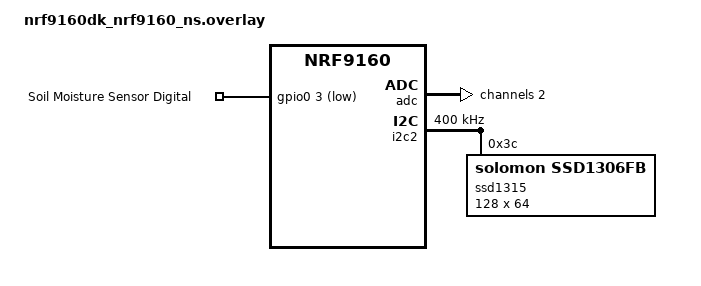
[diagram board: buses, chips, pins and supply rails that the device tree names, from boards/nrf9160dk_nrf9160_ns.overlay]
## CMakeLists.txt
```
cmake_minimum_required(VERSION 3.20.0)
set(SHIELD ssd1306_128x64)
find_package(Zephyr REQUIRED HINTS $ENV{ZEPHYR_BASE})
project(sensortest)

target_sources(app PRIVATE src/main.c src/i2c_scanner.c)

target_include_directories(app PRIVATE
    ${CMAKE_CURRENT_SOURCE_DIR}/include
	)
```

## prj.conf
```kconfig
#CONFIG_LV_Z_MEM_POOL_NUMBER_BLOCKS=8
CONFIG_MAIN_STACK_SIZE=2048
CONFIG_GPIO=y
CONFIG_ADC=y
CONFIG_ADC_NRFX_SAADC=y
CONFIG_LOG=y

CONFIG_SENSOR=y
CONFIG_ADC_NRFX_SAADC=y
CONFIG_NEWLIB_LIBC=y
CONFIG_NEWLIB_LIBC_FLOAT_PRINTF=y

CONFIG_LVGL=y
CONFIG_LV_MEM_CUSTOM=y
CONFIG_LV_USE_LOG=y
CONFIG_LV_LOG_LEVEL_INFO=y
CONFIG_LV_USE_LABEL=y
CONFIG_LV_USE_BTN=y
CONFIG_LV_USE_IMG=y
CONFIG_LV_FONT_MONTSERRAT_14=y

CONFIG_DISPLAY=y
CONFIG_I2C=y
CONFIG_I2C_NRFX=y
CONFIG_DISPLAY_LOG_LEVEL_ERR=y
CONFIG_SSD1306=y
```

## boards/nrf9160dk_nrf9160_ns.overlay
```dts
&adc {
    #address-cells = <1>;
    #size-cells = <0>;
    status = "okay";
    channel@2 {
        reg = <2>;
        zephyr,gain = "ADC_GAIN_1_2";
        zephyr,reference = "ADC_REF_INTERNAL";
        zephyr,acquisition-time = <ADC_ACQ_TIME_DEFAULT>;
        zephyr,input-positive = <NRF_SAADC_AIN2>;
        zephyr,resolution = <12>;
    };
};

&i2c2 {
	compatible = "nordic,nrf-twim";
	status = "okay";
	clock-frequency = <I2C_BITRATE_FAST>;
	zephyr,concat-buf-size = <1024>;  // Puffergröße auf 640 Bytes setzen
    zephyr,flash-buf-max-size = <1024>; // Maximalgröße für Flash-Schreibvorgänge
    
  
	ssd1315: ssd1315@3c {
		compatible = "solomon,ssd1306fb";
		reg = <0x3c>;
		width = <128>;
		height = <64>;
		segment-offset = <0>;
		page-offset = <0>;
		display-offset = <0>;
		multiplex-ratio = <63>;
		segment-remap;
		com-invdir;
		prechargep = <0x22>;
	};
};

/ {
	chosen {
		zephyr,display = &ssd1315;
	};

    soil_moisture_sensor {
        compatible = "gpio-keys";
        soil_moisture_gpio: soil_moisture_gpio {
            gpios = <&gpio0 3 GPIO_ACTIVE_LOW>;
            label = "Soil Moisture Sensor Digital";
        };
    };
    
    soil_moisture_adc: soil_moisture_adc {
        compatible = "adc-keys";
        io-channels = <&adc 2>;
        label = "Soil Moisture Sensor Analog";
		keyup-threshold-mv = <600>;  
    };
};
```

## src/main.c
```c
#include <zephyr/kernel.h>
#include <zephyr/device.h>
#include <zephyr/drivers/display.h>
#include <zephyr/drivers/gpio.h>
#include <zephyr/drivers/adc.h>
#include <zephyr/logging/log.h>
#include <lvgl.h>
#include <stdio.h>

LOG_MODULE_REGISTER(sensortest, LOG_LEVEL_INF);

#define SOIL_MOISTURE_GPIO_NODE DT_NODELABEL(soil_moisture_gpio)
#define SOIL_MOISTURE_ADC_NODE DT_NODELABEL(soil_moisture_adc)
#define ADC_RESOLUTION 12
#define ADC_CHANNEL DT_IO_CHANNELS_INPUT(SOIL_MOISTURE_ADC_NODE)

static const struct gpio_dt_spec soil_moisture_gpio = GPIO_DT_SPEC_GET(SOIL_MOISTURE_GPIO_NODE, gpios);
static const struct adc_dt_spec soil_moisture_adc = ADC_DT_SPEC_GET(SOIL_MOISTURE_ADC_NODE);
static const struct device *display_dev;

static int16_t sample_buffer[1];

struct adc_sequence sequence = {
    .buffer = sample_buffer,
    .buffer_size = sizeof(sample_buffer),
};

static int init_display(void) {
    display_dev = DEVICE_DT_GET(DT_CHOSEN(zephyr_display));
    if (!device_is_ready(display_dev)) {
        LOG_ERR("Display not ready");
        return -1;
    }
    display_blanking_off(display_dev);
    return 0;
}

static void init_lvgl(void) {
    lv_init();
    lv_task_handler();
}

int main(void)
{
    int ret;
    int32_t adc_value;
    char display_text[64];

    if (init_display() < 0) {
        return -1;
    }

    init_lvgl();

    // Hier Widgets erstellen und Logik implementieren
    lv_obj_clean(lv_scr_act());
    lv_obj_t *label = lv_label_create(lv_scr_act());
    lv_obj_align(label, LV_ALIGN_CENTER, 0, 0);

    // GPIO Konfiguration
    if (!device_is_ready(soil_moisture_gpio.port)) {
        LOG_ERR("Error: Soil moisture GPIO device is not ready");
        return -1;
    }

    ret = gpio_pin_configure_dt(&soil_moisture_gpio, GPIO_INPUT);
    if (ret != 0) {
        LOG_ERR("Error: failed to configure GPIO");
        return -1;
    }

    // ADC Konfiguration
    if (!device_is_ready(soil_moisture_adc.dev)) {
        LOG_ERR("Error: ADC device is not ready");
        return -1;
    }

    ret = adc_channel_setup_dt(&soil_moisture_adc);
    if (ret != 0) {
        LOG_ERR("Error: failed to setup ADC channel, error code: %d", ret);
        return ret;
    }

    while (1) {
        lv_task_handler();
        // Digitalen Wert lesen
        int digital_val = gpio_pin_get_dt(&soil_moisture_gpio);
        
        // Analogen Wert lesen
        ret = adc_sequence_init_dt(&soil_moisture_adc, &sequence);
        if (ret != 0) {
            LOG_ERR("Error: failed to initialize ADC sequence");
            continue;
        }

        ret = adc_read(soil_moisture_adc.dev, &sequence);
        if (ret == 0) {
            int32_t adc_value = sample_buffer[0];
            int32_t millivolts = 0;
            ret = adc_raw_to_millivolts_dt(&soil_moisture_adc, &millivolts);
            if (ret != 0) {
                LOG_ERR("Error: failed to convert ADC raw value to millivolts");
            } else {
                LOG_INF("Digital: %s, Analog raw: %d, Analog: %d mV", 
                    digital_val == 0 ? "Moist" : "Dry", 
                    adc_value,
                    millivolts);
                int32_t reference_mv = adc_ref_internal(soil_moisture_adc.dev);
                int32_t millivolts = (adc_value * reference_mv) / (1 << soil_moisture_adc.resolution);
                LOG_INF("Manual conversion: %d mV", millivolts);
                snprintf(display_text, sizeof(display_text), 
                    "Digital: %s\nAnalog: %d mV", 
                    digital_val == 0 ? "Moist" : "Dry", 
                    millivolts);
                lv_label_set_text(label, display_text);
            }
        } else {
            LOG_ERR("Error reading ADC");
        }

        k_sleep(K_SECONDS(5));
    }

    return 0;
}
```

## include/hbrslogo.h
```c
#define HBRSLOGO_BW_HEIGHT 64
#define HBRSLOGO_BW_WIDTH 128

// array size is 8192
const unsigned char hbrslogo_bw[]  = {
  0xff, 0xff, 0xff, 0xff, 0xff, 0xff, 0xff, 0xff, 0xff, 0xff, 0xff, 0xff, 0xff, 0xff, 0xff, 0xff, 
  0xff, 0xff, 0xff, 0xff, 0xff, 0xff, 0xff, 0xff, 0xff, 0xff, 0xff, 0xff, 0xff, 0xff, 0xff, 0xff, 
  0xff, 0xff, 0xff, 0xff, 0xff, 0xff, 0xff, 0xff, 0xff, 0xff, 0xff, 0xff, 0xff, 0xff, 0xff, 0xff, 
  0xff, 0xff, 0xff, 0xff, 0xff, 0xff, 0xff, 0xff, 0xff, 0xff, 0xff, 0xff, 0xff, 0xff, 0xff, 0xff, 
  0xff, 0xff, 0xff, 0xff, 0xff, 0xff, 0xff, 0xff, 0xff, 0xff, 0xff, 0xff, 0xff, 0xff, 0xff, 0xff, 
  0xff, 0xff, 0xff, 0xff, 0xff, 0xff, 0xff, 0xff, 0xff, 0xff, 0xff, 0xff, 0xff, 0xff, 0xff, 0xff, 
  0xff, 0xff, 0xff, 0xff, 0xff, 0xff, 0xff, 0xff, 0xff, 0xff, 0xff, 0xff, 0xff, 0xff, 0xff, 0xff, 
  0xff, 0xff, 0xff, 0xff, 0xff, 0xff, 0xff, 0xff, 0xff, 0xff, 0xff, 0xff, 0xff, 0xff, 0xff, 0xff, 
  0xff, 0xff, 0xff, 0xff, 0xff, 0xff, 0xff, 0xff, 0xff, 0xff, 0xff, 0xff, 0xff, 0xff, 0xff, 0xff, 
  0xff, 0xff, 0xff, 0xff, 0x80, 0xff, 0xff, 0xff, 0xff, 0xff, 0xff, 0x80, 0xff, 0xff, 0xff, 0xff, 
  0xff, 0xff, 0xff, 0xfc, 0x00, 0x3f, 0xff, 0xff, 0xff, 0xff, 0xfe, 0x00, 0x1f, 0xff, 0xff, 0xff, 
  0xff, 0xff, 0xff, 0xf0, 0x00, 0x07, 0xff, 0xff, 0xff, 0xff, 0xf0, 0x00, 0x07, 0xff, 0xff, 0xff, 
  0xff, 0xff, 0xff, 0xc0, 0x00, 0x03, 0xff, 0xff, 0xff, 0xff, 0xe0, 0x00, 0x03, 0xff, 0xff, 0xff, 
  0xff, 0xff, 0xff, 0x80, 0x00, 0x00, 0xff, 0xff, 0xff, 0xff, 0x80, 0x00, 0x00, 0xff, 0xff, 0xff, 
  0xff, 0xff, 0xfe, 0x00, 0x00, 0x00, 0xff, 0xff, 0xff, 0xff, 0x00, 0x00, 0x00, 0x7f, 0xff, 0xff, 
  0xff, 0xff, 0xfc, 0x00, 0x00, 0x00, 0x3f, 0xff, 0xff, 0xfe, 0x00, 0x00, 0x00, 0x3f, 0xff, 0xff, 
  0xff, 0xff, 0xfc, 0x00, 0x00, 0x00, 0x1f, 0xff, 0xff, 0xfc, 0x00, 0x00, 0x00, 0x1f, 0xff, 0xff, 
  0xff, 0xff, 0xf8, 0x00, 0x00, 0x00, 0x0f, 0xff, 0xff, 0xfc, 0x00, 0x00, 0x00, 0x0f, 0xff, 0xff, 
  0xff, 0xff, 0xf0, 0x00, 0xff, 0x00, 0x0f, 0xff, 0xff, 0xf8, 0x00, 0x00, 0x00, 0x0f, 0xff, 0xff, 
  0xff, 0xff, 0xf0, 0x01, 0xff, 0xc0, 0x07, 0xff, 0xff, 0xf0, 0x00, 0x00, 0x00, 0x07, 0xff, 0xff, 
  0xff, 0xff, 0xe0, 0x07, 0xff, 0xe0, 0x07, 0xff, 0xff, 0xf0, 0x00, 0x00, 0x00, 0x03, 0xff, 0xff, 
  0xff, 0xff, 0xc0, 0x0f, 0xff, 0xf0, 0x03, 0xff, 0xff, 0xe0, 0x00, 0x00, 0x00, 0x03, 0xff, 0xff, 
  0xff, 0xff, 0xc0, 0x1f, 0xff, 0xf8, 0x03, 0xff, 0xff, 0xe0, 0x00, 0x00, 0x00, 0x03, 0xff, 0xff, 
  0xff, 0xff, 0xc0, 0x3f, 0xff, 0xfc, 0x03, 0xff, 0xff, 0xc0, 0x00, 0x00, 0x00, 0x01, 0xff, 0xff, 
  0xff, 0xff, 0xc0, 0x3f, 0xff, 0xfe, 0x01, 0xff, 0xff, 0xc0, 0x00, 0x00, 0x00, 0x01, 0xff, 0xff, 
  0xff, 0xff, 0x80, 0x7f, 0xff, 0xfe, 0x01, 0xff, 0xff, 0xc0, 0x00, 0x00, 0x00, 0x01, 0xff, 0xff, 
  0xff, 0xff, 0x80, 0x7f, 0xff, 0xfe, 0x01, 0xff, 0xff, 0xc0, 0x00, 0x00, 0x00, 0x00, 0xff, 0xff, 
  0xff, 0xff, 0x80, 0xff, 0xff, 0xff, 0x00, 0xff, 0xff, 0x80, 0x00, 0x00, 0x00, 0x00, 0xff, 0xff, 
  0xff, 0xff, 0x80, 0xff, 0xff, 0xff, 0x00, 0xff, 0xff, 0x80, 0x00, 0x00, 0x00, 0x00, 0xff, 0xff, 
  0xff, 0xff, 0x80, 0xff, 0xff, 0xff, 0x80, 0xff, 0xff, 0x80, 0x00, 0x00, 0x00, 0x00, 0xff, 0xff, 
  0xff, 0xff, 0x00, 0xff, 0xff, 0xff, 0x80, 0xff, 0xff, 0x80, 0x00, 0x00, 0x00, 0x00, 0xff, 0xff, 
  0xff, 0xff, 0x00, 0xff, 0xff, 0xff, 0x80, 0xff, 0xff, 0x80, 0x00, 0x00, 0x00, 0x00, 0xff, 0xff, 
  0xff, 0xff, 0x00, 0xff, 0xff, 0xff, 0x80, 0xff, 0xff, 0x80, 0x00, 0x00, 0x00, 0x00, 0xff, 0xff, 
  0xff, 0xff, 0x00, 0xff, 0xff, 0xff, 0x80, 0xff, 0xff, 0x80, 0x00, 0x00, 0x00, 0x00, 0xff, 0xff, 
  0xff, 0xff, 0x80, 0xff, 0xff, 0xff, 0x80, 0xff, 0xff, 0x80, 0x00, 0x00, 0x00, 0x00, 0xff, 0xff, 
  0xff, 0xff, 0x80, 0xff, 0xff, 0xff, 0x00, 0xff, 0xff, 0x80, 0x00, 0x00, 0x00, 0x00, 0xff, 0xff, 
  0xff, 0xff, 0x80, 0xff, 0xff, 0xff, 0x00, 0xff, 0xff, 0x80, 0x00, 0x00, 0x00, 0x00, 0xff, 0xff, 
  0xff, 0xff, 0x80, 0xff, 0xff, 0xff, 0x00, 0xff, 0xff, 0x80, 0x00, 0x00, 0x00, 0x00, 0xff, 0xff, 
  0xff, 0xff, 0x80, 0x7f, 0xff, 0xfe, 0x01, 0xff, 0xff, 0xc0, 0x00, 0x00, 0x00, 0x01, 0xff, 0xff, 
  0xff, 0xff, 0x80, 0x7f, 0xff, 0xfe, 0x01, 0xff, 0xff, 0xc0, 0x00, 0x00, 0x00, 0x01, 0xff, 0xff, 
  0xff, 0xff, 0xc0, 0x3f, 0xff, 0xfc, 0x03, 0xff, 0xff, 0xc0, 0x00, 0x00, 0x00, 0x01, 0xff, 0xff, 
  0xff, 0xff, 0xc0, 0x1f, 0xff, 0xfc, 0x03, 0xff, 0xff, 0xc0, 0x00, 0x00, 0x00, 0x01, 0xff, 0xff, 
  0xff, 0xff, 0xc0, 0x0f, 0xff, 0xf8, 0x03, 0xff, 0xff, 0xe0, 0x00, 0x00, 0x00, 0x03, 0xff, 0xff, 
  0xff, 0xff, 0xe0, 0x0f, 0xff, 0xf0, 0x03, 0xff, 0xff, 0xe0, 0x00, 0x00, 0x00, 0x03, 0xff, 0xff, 
  0xff, 0xff, 0xe0, 0x03, 0xff, 0xc0, 0x07, 0xff, 0xff, 0xf0, 0x00, 0x00, 0x00, 0x03, 0xff, 0xff, 
  0xff, 0xff, 0xf0, 0x01, 0xff, 0x80, 0x0f, 0xff, 0xff, 0xf0, 0x00, 0x00, 0x00, 0x07, 0xff, 0xff, 
  0xff, 0xff, 0xf8, 0x00, 0x00, 0x00, 0x0f, 0xff, 0xff, 0xf8, 0x00, 0x00, 0x00, 0x0f, 0xff, 0xff, 
  0xff, 0xff, 0xf8, 0x00, 0x00, 0x00, 0x1f, 0xff, 0xff, 0xfc, 0x00, 0x00, 0x00, 0x0f, 0xff, 0xff, 
  0xff, 0xff, 0xfc, 0x00, 0x00, 0x00, 0x3f, 0xff, 0xff, 0xfc, 0x00, 0x00, 0x00, 0x1f, 0xff, 0xff, 
  0xff, 0xff, 0xfe, 0x00, 0x00, 0x00, 0x7f, 0xff, 0xff, 0xff, 0x00, 0x00, 0x00, 0x3f, 0xff, 0xff, 
  0xff, 0xff, 0xff, 0x00, 0x00, 0x00, 0xff, 0xff, 0xff, 0xff, 0x00, 0x00, 0x00, 0x7f, 0xff, 0xff, 
  0xff, 0xff, 0xff, 0x80, 0x00, 0x01, 0xff, 0xff, 0xff, 0xff, 0xc0, 0x00, 0x01, 0xff, 0xff, 0xff, 
  0xff, 0xff, 0xff, 0xc0, 0x00, 0x03, 0xff, 0xff, 0xff, 0xff, 0xe0, 0x00, 0x03, 0xff, 0xff, 0xff, 
  0xff, 0xff, 0xff, 0xf8, 0x00, 0x0f, 0xff, 0xff, 0xff, 0xff, 0xf8, 0x00, 0x0f, 0xff, 0xff, 0xff, 
  0xff, 0xff, 0xff, 0xfc, 0x00, 0x3f, 0xff, 0xff, 0xff, 0xff, 0xfe, 0x00, 0x3f, 0xff, 0xff, 0xff, 
  0xff, 0xff, 0xff, 0xff, 0xff, 0xff, 0xff, 0xff, 0xff, 0xff, 0xff, 0xff, 0xff, 0xff, 0xff, 0xff, 
  0xff, 0xff, 0xff, 0xff, 0xff, 0xff, 0xff, 0xff, 0xff, 0xff, 0xff, 0xff, 0xff, 0xff, 0xff, 0xff, 
  0xff, 0xff, 0xff, 0xff, 0xff, 0xff, 0xff, 0xff, 0xff, 0xff, 0xff, 0xff, 0xff, 0xff, 0xff, 0xff, 
  0xff, 0xff, 0xff, 0xff, 0xff, 0xff, 0xff, 0xff, 0xff, 0xff, 0xff, 0xff, 0xff, 0xff, 0xff, 0xff, 
  0xff, 0xff, 0xff, 0xff, 0xff, 0xff, 0xff, 0xff, 0xff, 0xff, 0xff, 0xff, 0xff, 0xff, 0xff, 0xff, 
  0xff, 0xff, 0xff, 0xff, 0xff, 0xff, 0xff, 0xff, 0xff, 0xff, 0xff, 0xff, 0xff, 0xff, 0xff, 0xff, 
  0xff, 0xff, 0xff, 0xff, 0xff, 0xff, 0xff, 0xff, 0xff, 0xff, 0xff, 0xff, 0xff, 0xff, 0xff, 0xff, 
  0xff, 0xff, 0xff, 0xff, 0xff, 0xff, 0xff, 0xff, 0xff, 0xff, 0xff, 0xff, 0xff, 0xff, 0xff, 0xff, 
  0xff, 0xff, 0xff, 0xff, 0xff, 0xff, 0xff, 0xff, 0xff, 0xff, 0xff, 0xff, 0xff, 0xff, 0xff, 0xff
};
```

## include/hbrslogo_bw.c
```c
/* E:\Uni\WS2425\IoT_Security\NRF\Projekt\SSD1306\include\hbrslogo_bw.bmp (01.12.2024 12:17:59)
   StartOffset(h): 00000000, EndeOffset(h): 00000491, Länge(h): 00000492 */

const unsigned char hbrslogo_bits[] = {
	0x42, 0x4D, 0x92, 0x04, 0x00, 0x00, 0x00, 0x00, 0x00, 0x00, 0x92, 0x00,
	0x00, 0x00, 0x7C, 0x00, 0x00, 0x00, 0x80, 0x00, 0x00, 0x00, 0x40, 0x00,
	0x00, 0x00, 0x01, 0x00, 0x01, 0x00, 0x00, 0x00, 0x00, 0x00, 0x00, 0x04,
	0x00, 0x00, 0xC2, 0x0E, 0x00, 0x00, 0xC2, 0x0E, 0x00, 0x00, 0x02, 0x00,
	0x00, 0x00, 0x02, 0x00, 0x00, 0x00, 0x00, 0x00, 0xFF, 0x00, 0x00, 0xFF,
	0x00, 0x00, 0xFF, 0x00, 0x00, 0x00, 0x00, 0x00, 0x00, 0x00, 0x42, 0x47,
	0x52, 0x73, 0x00, 0x00, 0x00, 0x00, 0x00, 0x00, 0x00, 0x00, 0x00, 0x00,
	0x00, 0x00, 0x00, 0x00, 0x00, 0x00, 0x00, 0x00, 0x00, 0x00, 0x00, 0x00,
	0x00, 0x00, 0x00, 0x00, 0x00, 0x00, 0x00, 0x00, 0x00, 0x00, 0x00, 0x00,
	0x00, 0x00, 0x00, 0x00, 0x00, 0x00, 0x00, 0x00, 0x00, 0x00, 0x00, 0x00,
	0x00, 0x00, 0x02, 0x00, 0x00, 0x00, 0x00, 0x00, 0x00, 0x00, 0x00, 0x00,
	0x00, 0x00, 0x00, 0x00, 0x00, 0x00, 0x00, 0x00, 0x00, 0x00, 0xFF, 0xFF,
	0xFF, 0x00, 0xFF, 0xFF, 0xFF, 0xFF, 0xFF, 0xFF, 0xFF, 0xFF, 0xFF, 0xFF,
	0xFF, 0xFF, 0xFF, 0xFF, 0xFF, 0xFF, 0xFF, 0xFF, 0xFF, 0xFF, 0xFF, 0xFF,
	0xFF, 0xFF, 0xFF, 0xFF, 0xFF, 0xFF, 0xFF, 0xFF, 0xFF, 0xFF, 0xFF, 0xFF,
	0xFF, 0xFF, 0xFF, 0xFF, 0xFF, 0xFF, 0xFF, 0xFF, 0xFF, 0xFF, 0xFF, 0xFF,
	0xFF, 0xFF, 0xFF, 0xFF, 0xFF, 0xFF, 0xFF, 0xFF, 0xFF, 0xFF, 0xFF, 0xFF,
	0xFF, 0xFF, 0xFF, 0xFF, 0xFF, 0xFF, 0xFF, 0xFF, 0xFF, 0xFF, 0xFF, 0xFF,
	0xFF, 0xFF, 0xFF, 0xFF, 0xFF, 0xFF, 0xFF, 0xFF, 0xFF, 0xFF, 0xFF, 0xFF,
	0xFF, 0xFF, 0xFF, 0xFF, 0xFF, 0xFF, 0xFF, 0xFF, 0xFF, 0xFF, 0xFF, 0xFF,
	0xFF, 0xFF, 0xFF, 0xFF, 0xFF, 0xFF, 0xFF, 0xFF, 0xFF, 0xFF, 0xFF, 0xFF,
	0xFF, 0xFF, 0xFF, 0xFF, 0xFF, 0xFF, 0xFF, 0xFF, 0xFF, 0xFF, 0xFF, 0xFF,
	0xFF, 0xFF, 0xFF, 0xFF, 0xFF, 0xFF, 0xFF, 0xFF, 0xFF, 0xFF, 0xFF, 0xFF,
	0xFF, 0xFF, 0xFF, 0xFF, 0xFF, 0xFF, 0xFF, 0xFF, 0xFF, 0xFF, 0xFF, 0xFF,
	0xFF, 0xFF, 0xFF, 0xFF, 0xFF, 0xFC, 0x00, 0x3F, 0xFF, 0xFF, 0xFF, 0xFF,
	0xFE, 0x00, 0x3F, 0xFF, 0xFF, 0xFF, 0xFF, 0xFF, 0xFF, 0xF8, 0x00, 0x0F,
	0xFF, 0xFF, 0xFF, 0xFF, 0xF8, 0x00, 0x0F, 0xFF, 0xFF, 0xFF, 0xFF, 0xFF,
	0xFF, 0xC0, 0x00, 0x03, 0xFF, 0xFF, 0xFF, 0xFF, 0xE0, 0x00, 0x03, 0xFF,
	0xFF, 0xFF, 0xFF, 0xFF, 0xFF, 0x80, 0x00, 0x01, 0xFF, 0xFF, 0xFF, 0xFF,
	0xC0, 0x00, 0x01, 0xFF, 0xFF, 0xFF, 0xFF, 0xFF, 0xFF, 0x00, 0x00, 0x00,
	0xFF, 0xFF, 0xFF, 0xFF, 0x00, 0x00, 0x00, 0x7F, 0xFF, 0xFF, 0xFF, 0xFF,
	0xFE, 0x00, 0x00, 0x00, 0x7F, 0xFF, 0xFF, 0xFF, 0x00, 0x00, 0x00, 0x3F,
	0xFF, 0xFF, 0xFF, 0xFF, 0xFC, 0x00, 0x00, 0x00, 0x3F, 0xFF, 0xFF, 0xFC,
	0x00, 0x00, 0x00, 0x1F, 0xFF, 0xFF, 0xFF, 0xFF, 0xF8, 0x00, 0x00, 0x00,
	0x1F, 0xFF, 0xFF, 0xFC, 0x00, 0x00, 0x00, 0x0F, 0xFF, 0xFF, 0xFF, 0xFF,
	0xF8, 0x00, 0x00, 0x00, 0x0F, 0xFF, 0xFF, 0xF8, 0x00, 0x00, 0x00, 0x0F,
	0xFF, 0xFF, 0xFF, 0xFF, 0xF0, 0x01, 0xFF, 0x80, 0x0F, 0xFF, 0xFF, 0xF0,
	0x00, 0x00, 0x00, 0x07, 0xFF, 0xFF, 0xFF, 0xFF, 0xE0, 0x03, 0xFF, 0xC0,
	0x07, 0xFF, 0xFF, 0xF0, 0x00, 0x00, 0x00, 0x03, 0xFF, 0xFF, 0xFF, 0xFF,
	0xE0, 0x0F, 0xFF, 0xF0, 0x03, 0xFF, 0xFF, 0xE0, 0x00, 0x00, 0x00, 0x03,
	0xFF, 0xFF, 0xFF, 0xFF, 0xC0, 0x0F, 0xFF, 0xF8, 0x03, 0xFF, 0xFF, 0xE0,
	0x00, 0x00, 0x00, 0x03, 0xFF, 0xFF, 0xFF, 0xFF, 0xC0, 0x1F, 0xFF, 0xFC,
	0x03, 0xFF, 0xFF, 0xC0, 0x00, 0x00, 0x00, 0x01, 0xFF, 0xFF, 0xFF, 0xFF,
	0xC0, 0x3F, 0xFF, 0xFC, 0x03, 0xFF, 0xFF, 0xC0, 0x00, 0x00, 0x00, 0x01,
	0xFF, 0xFF, 0xFF, 0xFF, 0x80, 0x7F, 0xFF, 0xFE, 0x01, 0xFF, 0xFF, 0xC0,
	0x00, 0x00, 0x00, 0x01, 0xFF, 0xFF, 0xFF, 0xFF, 0x80, 0x7F, 0xFF, 0xFE,
	0x01, 0xFF, 0xFF, 0xC0, 0x00, 0x00, 0x00, 0x01, 0xFF, 0xFF, 0xFF, 0xFF,
	0x80, 0xFF, 0xFF, 0xFF, 0x00, 0xFF, 0xFF, 0x80, 0x00, 0x00, 0x00, 0x00,
	0xFF, 0xFF, 0xFF, 0xFF, 0x80, 0xFF, 0xFF, 0xFF, 0x00, 0xFF, 0xFF, 0x80,
	0x00, 0x00, 0x00, 0x00, 0xFF, 0xFF, 0xFF, 0xFF, 0x80, 0xFF, 0xFF, 0xFF,
	0x00, 0xFF, 0xFF, 0x80, 0x00, 0x00, 0x00, 0x00, 0xFF, 0xFF, 0xFF, 0xFF,
	0x80, 0xFF, 0xFF, 0xFF, 0x80, 0xFF, 0xFF, 0x80, 0x00, 0x00, 0x00, 0x00,
	0xFF, 0xFF, 0xFF, 0xFF, 0x00, 0xFF, 0xFF, 0xFF, 0x80, 0xFF, 0xFF, 0x80,
	0x00, 0x00, 0x00, 0x00, 0xFF, 0xFF, 0xFF, 0xFF, 0x00, 0xFF, 0xFF, 0xFF,
	0x80, 0xFF, 0xFF, 0x80, 0x00, 0x00, 0x00, 0x00, 0xFF, 0xFF, 0xFF, 0xFF,
	0x00, 0xFF, 0xFF, 0xFF, 0x80, 0xFF, 0xFF, 0x80, 0x00, 0x00, 0x00, 0x00,
	0xFF, 0xFF, 0xFF, 0xFF, 0x00, 0xFF, 0xFF, 0xFF, 0x80, 0xFF, 0xFF, 0x80,
	0x00, 0x00, 0x00, 0x00, 0xFF, 0xFF, 0xFF, 0xFF, 0x80, 0xFF, 0xFF, 0xFF,
	0x80, 0xFF, 0xFF, 0x80, 0x00, 0x00, 0x00, 0x00, 0xFF, 0xFF, 0xFF, 0xFF,
	0x80, 0xFF, 0xFF, 0xFF, 0x00, 0xFF, 0xFF, 0x80, 0x00, 0x00, 0x00, 0x00,
	0xFF, 0xFF, 0xFF, 0xFF, 0x80, 0xFF, 0xFF, 0xFF, 0x00, 0xFF, 0xFF, 0x80,
	0x00, 0x00, 0x00, 0x00, 0xFF, 0xFF, 0xFF, 0xFF, 0x80, 0x7F, 0xFF, 0xFE,
	0x01, 0xFF, 0xFF, 0xC0, 0x00, 0x00, 0x00, 0x00, 0xFF, 0xFF, 0xFF, 0xFF,
	0x80, 0x7F, 0xFF, 0xFE, 0x01, 0xFF, 0xFF, 0xC0, 0x00, 0x00, 0x00, 0x01,
	0xFF, 0xFF, 0xFF, 0xFF, 0xC0, 0x3F, 0xFF, 0xFE, 0x01, 0xFF, 0xFF, 0xC0,
	0x00, 0x00, 0x00, 0x01, 0xFF, 0xFF, 0xFF, 0xFF, 0xC0, 0x3F, 0xFF, 0xFC,
	0x03, 0xFF, 0xFF, 0xC0, 0x00, 0x00, 0x00, 0x01, 0xFF, 0xFF, 0xFF, 0xFF,
	0xC0, 0x1F, 0xFF, 0xF8, 0x03, 0xFF, 0xFF, 0xE0, 0x00, 0x00, 0x00, 0x03,
	0xFF, 0xFF, 0xFF, 0xFF, 0xC0, 0x0F, 0xFF, 0xF0, 0x03, 0xFF, 0xFF, 0xE0,
	0x00, 0x00, 0x00, 0x03, 0xFF, 0xFF, 0xFF, 0xFF, 0xE0, 0x07, 0xFF, 0xE0,
	0x07, 0xFF, 0xFF, 0xF0, 0x00, 0x00, 0x00, 0x03, 0xFF, 0xFF, 0xFF, 0xFF,
	0xF0, 0x01, 0xFF, 0xC0, 0x07, 0xFF, 0xFF, 0xF0, 0x00, 0x00, 0x00, 0x07,
	0xFF, 0xFF, 0xFF, 0xFF, 0xF0, 0x00, 0xFF, 0x00, 0x0F, 0xFF, 0xFF, 0xF8,
	0x00, 0x00, 0x00, 0x0F, 0xFF, 0xFF, 0xFF, 0xFF, 0xF8, 0x00, 0x00, 0x00,
	0x0F, 0xFF, 0xFF, 0xFC, 0x00, 0x00, 0x00, 0x0F, 0xFF, 0xFF, 0xFF, 0xFF,
	0xFC, 0x00, 0x00, 0x00, 0x1F, 0xFF, 0xFF, 0xFC, 0x00, 0x00, 0x00, 0x1F,
	0xFF, 0xFF, 0xFF, 0xFF, 0xFC, 0x00, 0x00, 0x00, 0x3F, 0xFF, 0xFF, 0xFE,
	0x00, 0x00, 0x00, 0x3F, 0xFF, 0xFF, 0xFF, 0xFF, 0xFE, 0x00, 0x00, 0x00,
	0xFF, 0xFF, 0xFF, 0xFF, 0x00, 0x00, 0x00, 0x7F, 0xFF, 0xFF, 0xFF, 0xFF,
	0xFF, 0x80, 0x00, 0x00, 0xFF, 0xFF, 0xFF, 0xFF, 0x80, 0x00, 0x00, 0xFF,
	0xFF, 0xFF, 0xFF, 0xFF, 0xFF, 0xC0, 0x00, 0x03, 0xFF, 0xFF, 0xFF, 0xFF,
	0xE0, 0x00, 0x03, 0xFF, 0xFF, 0xFF, 0xFF, 0xFF, 0xFF, 0xF0, 0x00, 0x07,
	0xFF, 0xFF, 0xFF, 0xFF, 0xF0, 0x00, 0x07, 0xFF, 0xFF, 0xFF, 0xFF, 0xFF,
	0xFF, 0xFC, 0x00, 0x3F, 0xFF, 0xFF, 0xFF, 0xFF, 0xFE, 0x00, 0x1F, 0xFF,
	0xFF, 0xFF, 0xFF, 0xFF, 0xFF, 0xFF, 0x80, 0xFF, 0xFF, 0xFF, 0xFF, 0xFF,
	0xFF, 0x80, 0xFF, 0xFF, 0xFF, 0xFF, 0xFF, 0xFF, 0xFF, 0xFF, 0xFF, 0xFF,
	0xFF, 0xFF, 0xFF, 0xFF, 0xFF, 0xFF, 0xFF, 0xFF, 0xFF, 0xFF, 0xFF, 0xFF,
	0xFF, 0xFF, 0xFF, 0xFF, 0xFF, 0xFF, 0xFF, 0xFF, 0xFF, 0xFF, 0xFF, 0xFF,
	0xFF, 0xFF, 0xFF, 0xFF, 0xFF, 0xFF, 0xFF, 0xFF, 0xFF, 0xFF, 0xFF, 0xFF,
	0xFF, 0xFF, 0xFF, 0xFF, 0xFF, 0xFF, 0xFF, 0xFF, 0xFF, 0xFF, 0xFF, 0xFF,
	0xFF, 0xFF, 0xFF, 0xFF, 0xFF, 0xFF, 0xFF, 0xFF, 0xFF, 0xFF, 0xFF, 0xFF,
	0xFF, 0xFF, 0xFF, 0xFF, 0xFF, 0xFF, 0xFF, 0xFF, 0xFF, 0xFF, 0xFF, 0xFF,
	0xFF, 0xFF, 0xFF, 0xFF, 0xFF, 0xFF, 0xFF, 0xFF, 0xFF, 0xFF, 0xFF, 0xFF,
	0xFF, 0xFF, 0xFF, 0xFF, 0xFF, 0xFF, 0xFF, 0xFF, 0xFF, 0xFF, 0xFF, 0xFF,
	0xFF, 0xFF, 0xFF, 0xFF, 0xFF, 0xFF, 0xFF, 0xFF, 0xFF, 0xFF, 0xFF, 0xFF,
	0xFF, 0xFF, 0xFF, 0xFF, 0xFF, 0xFF, 0xFF, 0xFF, 0xFF, 0xFF, 0xFF, 0xFF,
	0xFF, 0xFF, 0xFF, 0xFF, 0xFF, 0xFF, 0xFF, 0xFF, 0xFF, 0xFF, 0xFF, 0xFF,
	0xFF, 0xFF, 0xFF, 0xFF, 0xFF, 0xFF
};
```
